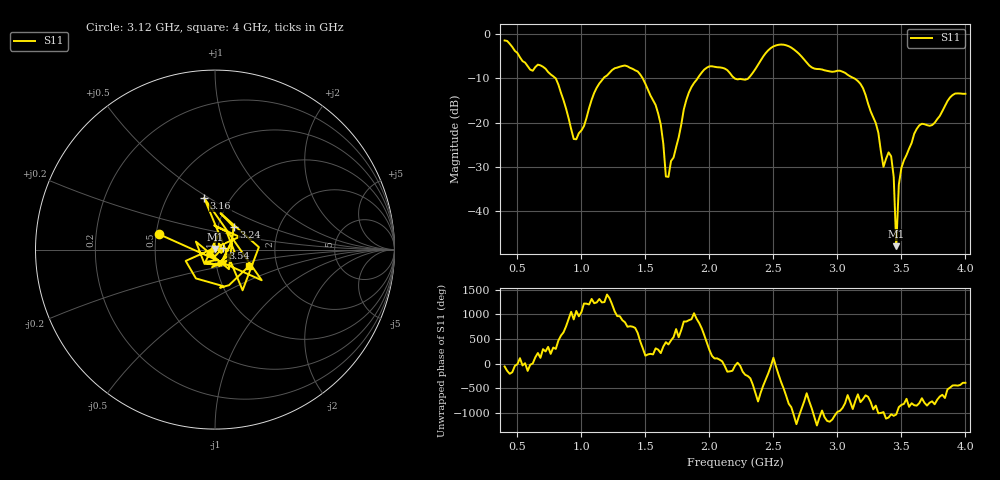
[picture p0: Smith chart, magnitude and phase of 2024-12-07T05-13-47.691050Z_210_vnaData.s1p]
!Created with skrf (http://scikit-rf.org).
# Hz S RI R 50.0
!freq ReS11 ImS11
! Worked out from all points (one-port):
!   181 points, 400 MHz to 4 GHz, reference 50 ohm
!   lowest |S11| = -47.9 dB at 3.46 GHz (marker M1), VSWR 1.01, Z = 50.2 + j0.337 ohm
!   |S11| at or under -10 dB: 798.5 MHz to 1.173 GHz (374.3 MHz wide, 38 % of centre); 1.479 GHz to 1.908 GHz (429 MHz wide, 25.3 % of centre); 3.13 GHz to end of sweep (the widest 3 of 4)
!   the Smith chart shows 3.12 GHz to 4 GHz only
!   S11 on the Smith chart (normalised r, x): 3.12 GHz: 0.52, +0.10; 3.16 GHz: 0.76, +0.48; 3.24 GHz: 1.19, +0.31; 3.54 GHz: 1.09, +0.02; 4 GHz: 1.44, -0.28
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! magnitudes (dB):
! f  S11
! 400 MHz  -1.5
! 800 MHz  -10.0
! 860 MHz  -14.9
! 960 MHz  -23.8
! 1.12 GHz  -12.1
! 1.3 GHz  -7.4
! 1.44 GHz  -8.5
! 1.58 GHz  -16.0
! 1.62 GHz  -20.4
! 1.66 GHz  -32.1
! 1.76 GHz  -23.3
! 1.84 GHz  -13.2
! 1.96 GHz  -8.0
! 2.2 GHz  -10.1
! 2.66 GHz  -3.5
! 3.1 GHz  -9.6
! 3.12 GHz  -9.9
! 3.16 GHz  -10.6
! 3.24 GHz  -15.7
! 3.36 GHz  -30.0
! 3.42 GHz  -27.6
! 3.44 GHz  -32.3
! 3.46 GHz  -47.9
! 3.48 GHz  -34.0
! 3.54 GHz  -27.3
! 3.56 GHz  -25.9
! 3.64 GHz  -20.6
! 4 GHz  -13.5
